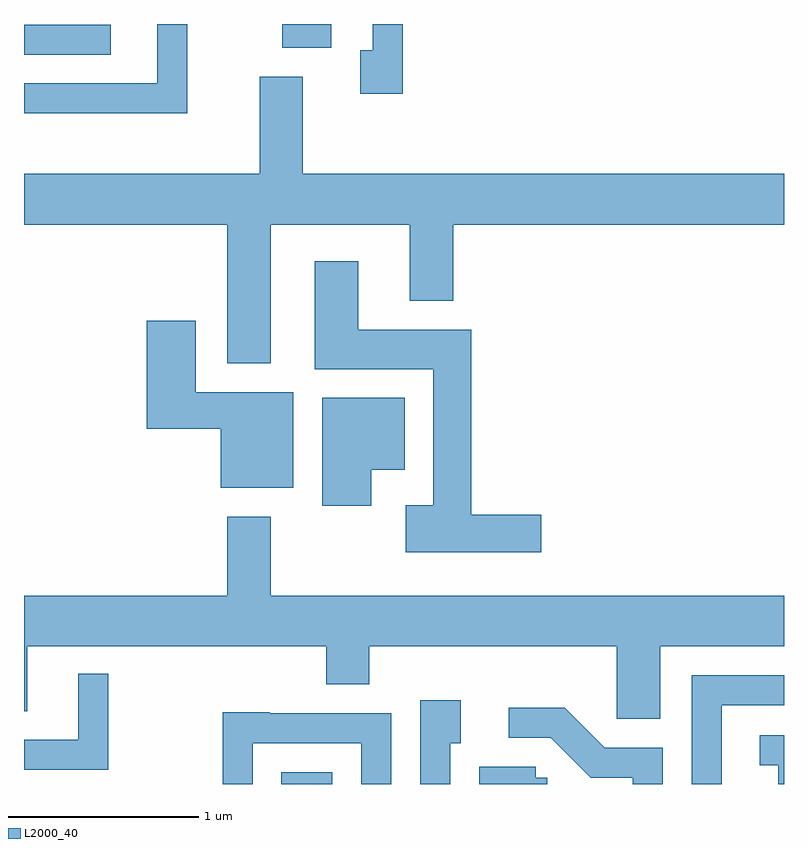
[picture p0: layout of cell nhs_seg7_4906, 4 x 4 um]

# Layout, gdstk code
import gdstk
lib = gdstk.Library(unit=1e-6, precision=1e-09)
def R(c, l, rs):  # rectangles x0, y0, x1, y1
    for r in rs: c.add(gdstk.rectangle(r[:2], r[2:], *l))
def P(c, l, *ps):  # polygons
    for p in ps: c.add(gdstk.Polygon(p, *l))
L2000_40 = (2000, 40)

nhs_seg7_4906 = lib.new_cell('nhs_seg7_4906')
R(nhs_seg7_4906, L2000_40, [(336.966,1720.252,337.234,1720.314), (335.611,1724.091,336.068,1724.249), (336.971,1724.126,337.229,1724.252)])
P(nhs_seg7_4906, L2000_40, [(337.604,1724.252),(337.446,1724.252),(337.446,1724.114),(337.381,1724.114),(337.381,1723.886),(337.604,1723.886)],
  [(336.469,1724.252),(336.311,1724.252),(336.311,1723.939),(335.611,1723.939),(335.611,1723.781),(336.469,1723.781)],
  [(337.079,1723.974),(336.851,1723.974),(336.851,1723.464),(335.611,1723.464),(335.611,1723.196),(336.681,1723.196),(336.681,1722.466),(336.909,1722.466),(336.909,1723.196),(337.641,1723.196),(337.641,1722.796),(337.869,1722.796),(337.869,1723.196),(339.611,1723.196),(339.611,1723.464),(337.079,1723.464)],
  [(338.334,1721.669),(337.964,1721.669),(337.964,1722.644),(337.369,1722.644),(337.369,1723.004),(337.141,1723.004),(337.141,1722.436),(337.766,1722.436),(337.766,1721.719),(337.621,1721.719),(337.621,1721.471),(338.334,1721.471)],
  [(337.029,1722.314),(336.514,1722.314),(336.514,1722.689),(336.256,1722.689),(336.256,1722.121),(336.646,1722.121),(336.646,1721.811),(337.029,1721.811)],
  [(337.439,1721.906),(337.614,1721.906),(337.614,1722.284),(337.181,1722.284),(337.181,1721.716),(337.439,1721.716)],
  [(338.959,1720.976),(339.611,1720.976),(339.611,1721.244),(336.909,1721.244),(336.909,1721.659),(336.681,1721.659),(336.681,1721.244),(335.611,1721.244),(335.611,1720.636),(335.629,1720.636),(335.629,1720.976),(337.201,1720.976),(337.201,1720.776),(337.429,1720.776),(337.429,1720.976),(338.731,1720.976),(338.731,1720.596),(338.959,1720.596)],
  [(336.054,1720.833),(335.896,1720.833),(335.896,1720.484),(335.611,1720.484),(335.611,1720.326),(336.054,1720.326)],
  [(339.284,1720.666),(339.611,1720.666),(339.611,1720.824),(339.126,1720.824),(339.126,1720.252),(339.284,1720.252)],
  [(337.854,1720.466),(337.909,1720.466),(337.909,1720.694),(337.696,1720.694),(337.696,1720.252),(337.854,1720.252)],
  [(338.974,1720.444),(338.667,1720.444),(338.457,1720.654),(338.163,1720.654),(338.163,1720.496),(338.384,1720.496),(338.594,1720.286),(338.816,1720.286),(338.816,1720.252),(338.974,1720.252)],
  [(336.814,1720.466),(337.386,1720.466),(337.386,1720.252),(337.544,1720.252),(337.544,1720.624),(336.905,1720.624),(336.905,1720.629),(336.656,1720.629),(336.656,1720.252),(336.814,1720.252)],
  [(339.611,1720.509),(339.483,1720.509),(339.483,1720.351),(339.581,1720.351),(339.581,1720.252),(339.611,1720.252)],
  [(338.364,1720.284),(338.304,1720.284),(338.304,1720.344),(338.006,1720.344),(338.006,1720.252),(338.364,1720.252)])

lib.write_gds('nhs_seg7_4906.gds')
